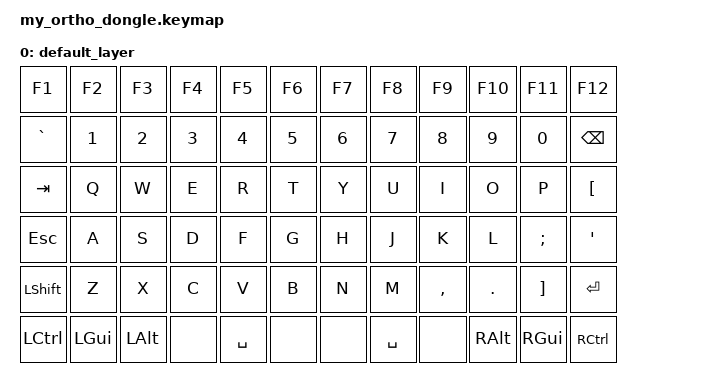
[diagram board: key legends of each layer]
#include <behaviors.dtsi>
#include <dt-bindings/zmk/keys.h>

/ {
    keymap {
        compatible = "zmk,keymap";

        default_layer {
            bindings = <
                // Ряд 1 (Самый верхний — Ф-ки)
                &kp F1    &kp F2    &kp F3    &kp F4    &kp F5    &kp F6    &kp F7    &kp F8    &kp F9    &kp F10   &kp F11   &kp F12

                // Ряд 2 (Цифры + буква Ё)
                &kp GRAVE &kp N1    &kp N2    &kp N3    &kp N4    &kp N5    &kp N6    &kp N7    &kp N8    &kp N9    &kp N0    &kp BSPC

                // Ряд 3 (ЙЦУКЕН + буква Х)
                &kp TAB   &kp Q     &kp W     &kp E     &kp R     &kp T     &kp Y     &kp U     &kp I     &kp O     &kp P     &kp LBKT

                // Ряд 4 (ФЫВАПРО + буквы Ж, Э)
                &kp ESC   &kp A     &kp S     &kp D     &kp F     &kp G     &kp H     &kp J     &kp K     &kp L     &kp SEMI  &kp SQT

                // Ряд 5 (ЯЧСМИТЬ + буквы Б, Ю, Ъ)
                &kp LSHFT &kp Z     &kp X     &kp C     &kp V     &kp B     &kp N     &kp M     &kp COMMA &kp DOT   &kp RBKT  &kp RET

                // Ряд 6 (Самый нижний — Модификаторы и пробелы)
                &kp LCTRL &kp LGUI  &kp LALT  &none    &kp SPACE &none    &none    &kp SPACE &none    &kp RALT  &kp RGUI  &kp RCTRL
            >;
        };
    };
};  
